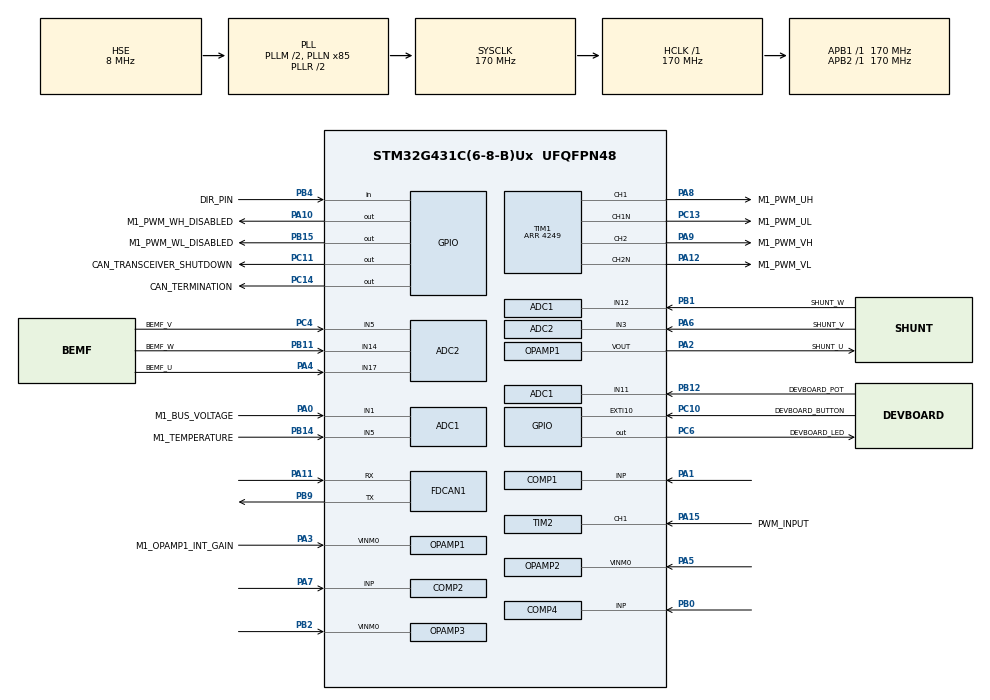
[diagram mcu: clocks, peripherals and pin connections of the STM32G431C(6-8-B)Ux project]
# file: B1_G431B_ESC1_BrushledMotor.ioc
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ADC1.Channel-0\#ChannelRegularConversion=ADC_CHANNEL_3
ADC1.Channel-1\#ChannelRegularConversion=ADC_CHANNEL_1
ADC1.Channel-2\#ChannelRegularConversion=ADC_CHANNEL_5
ADC1.Channel-3\#ChannelRegularConversion=ADC_CHANNEL_11
ADC1.DMAContinuousRequests=ENABLE
ADC1.ExternalTrigConv=ADC_EXTERNALTRIG_T1_TRGO
ADC1.NbrOfConversion=4
ADC1.NbrOfConversionFlag=1
ADC1.OffsetNumber-0\#ChannelRegularConversion=ADC_OFFSET_NONE
ADC1.OffsetNumber-1\#ChannelRegularConversion=ADC_OFFSET_NONE
ADC1.OffsetNumber-2\#ChannelRegularConversion=ADC_OFFSET_NONE
ADC1.OffsetNumber-3\#ChannelRegularConversion=ADC_OFFSET_NONE
ADC1.OversamplingMode=ENABLE
ADC1.Rank-0\#ChannelRegularConversion=1
ADC1.Rank-1\#ChannelRegularConversion=2
ADC1.Rank-2\#ChannelRegularConversion=3
ADC1.Rank-3\#ChannelRegularConversion=4
ADC1.Ratio=ADC_OVERSAMPLING_RATIO_8
ADC1.RightBitShift=ADC_RIGHTBITSHIFT_3
ADC1.SamplingTime-0\#ChannelRegularConversion=ADC_SAMPLETIME_2CYCLES_5
ADC1.SamplingTime-1\#ChannelRegularConversion=ADC_SAMPLETIME_47CYCLES_5
ADC1.SamplingTime-2\#ChannelRegularConversion=ADC_SAMPLETIME_47CYCLES_5
ADC1.SamplingTime-3\#ChannelRegularConversion=ADC_SAMPLETIME_47CYCLES_5
ADC1.master=1
ADC2.Channel-0\#ChannelRegularConversion=ADC_CHANNEL_3
ADC2.Channel-1\#ChannelRegularConversion=ADC_CHANNEL_17
ADC2.Channel-2\#ChannelRegularConversion=ADC_CHANNEL_5
ADC2.Channel-3\#ChannelRegularConversion=ADC_CHANNEL_14
ADC2.DMAContinuousRequests=ENABLE
ADC2.ExternalTrigConv=ADC_EXTERNALTRIG_T1_TRGO
ADC2.NbrOfConversion=4
ADC2.NbrOfConversionFlag=1
ADC2.OffsetNumber-0\#ChannelRegularConversion=ADC_OFFSET_NONE
ADC2.OffsetNumber-1\#ChannelRegularConversion=ADC_OFFSET_NONE
ADC2.OffsetNumber-2\#ChannelRegularConversion=ADC_OFFSET_NONE
ADC2.OffsetNumber-3\#ChannelRegularConversion=ADC_OFFSET_NONE
ADC2.OversamplingMode=ENABLE
ADC2.Rank-0\#ChannelRegularConversion=1
ADC2.Rank-1\#ChannelRegularConversion=2
ADC2.Rank-2\#ChannelRegularConversion=3
ADC2.Rank-3\#ChannelRegularConversion=4
ADC2.Ratio=ADC_OVERSAMPLING_RATIO_8
ADC2.RightBitShift=ADC_RIGHTBITSHIFT_3
ADC2.SamplingTime-0\#ChannelRegularConversion=ADC_SAMPLETIME_2CYCLES_5
ADC2.SamplingTime-1\#ChannelRegularConversion=ADC_SAMPLETIME_47CYCLES_5
ADC2.SamplingTime-2\#ChannelRegularConversion=ADC_SAMPLETIME_47CYCLES_5
ADC2.SamplingTime-3\#ChannelRegularConversion=ADC_SAMPLETIME_47CYCLES_5
ARM.CMSIS-DSP.1.17.0.CMSISJjDSP=Source
ARM.CMSIS.6.3.0.CMSISJjCORE=true
DAC3.DAC_Channel-DAC_OUT2_Int=DAC_CHANNEL_2
Dma.ADC1.0.Direction=DMA_PERIPH_TO_MEMORY
Dma.ADC1.0.EventEnable=DISABLE
Dma.ADC1.0.Instance=DMA1_Channel1
Dma.ADC1.0.MemDataAlignment=DMA_MDATAALIGN_WORD
Dma.ADC1.0.MemInc=DMA_MINC_ENABLE
Dma.ADC1.0.Mode=DMA_CIRCULAR
Dma.ADC1.0.PeriphDataAlignment=DMA_PDATAALIGN_WORD
Dma.ADC1.0.PeriphInc=DMA_PINC_DISABLE
Dma.ADC1.0.Polarity=HAL_DMAMUX_REQ_GEN_RISING
Dma.ADC1.0.Priority=DMA_PRIORITY_HIGH
Dma.ADC1.0.RequestNumber=1
Dma.ADC1.0.SignalID=NONE
Dma.ADC1.0.SyncEnable=DISABLE
Dma.ADC1.0.SyncPolarity=HAL_DMAMUX_SYNC_NO_EVENT
Dma.ADC1.0.SyncRequestNumber=1
Dma.ADC1.0.SyncSignalID=NONE
Dma.ADC2.1.Direction=DMA_PERIPH_TO_MEMORY
Dma.ADC2.1.EventEnable=DISABLE
Dma.ADC2.1.Instance=DMA1_Channel2
Dma.ADC2.1.MemDataAlignment=DMA_MDATAALIGN_WORD
Dma.ADC2.1.MemInc=DMA_MINC_ENABLE
Dma.ADC2.1.Mode=DMA_CIRCULAR
Dma.ADC2.1.PeriphDataAlignment=DMA_PDATAALIGN_WORD
Dma.ADC2.1.PeriphInc=DMA_PINC_DISABLE
Dma.ADC2.1.Polarity=HAL_DMAMUX_REQ_GEN_RISING
Dma.ADC2.1.Priority=DMA_PRIORITY_HIGH
Dma.ADC2.1.RequestNumber=1
Dma.ADC2.1.SignalID=NONE
Dma.ADC2.1.SyncEnable=DISABLE
Dma.ADC2.1.SyncPolarity=HAL_DMAMUX_SYNC_NO_EVENT
Dma.ADC2.1.SyncRequestNumber=1
Dma.ADC2.1.SyncSignalID=NONE
Dma.Request0=ADC1
Dma.Request1=ADC2
FDCAN1.CalculateBaudRateNominal=1999999
FDCAN1.CalculateTimeBitNominal=500
FDCAN1.CalculateTimeQuantumNominal=29.411764705882355
FDCAN1.NominalPrescaler=5
FDCAN1.NominalTimeSeg1=14
FDCAN1.NominalTimeSeg2=2
Mcu.Family=STM32G4
Mcu.Name=STM32G431C(6-8-B)Ux
Mcu.Package=UFQFPN48
NVIC.ADC1_2_IRQn=true\:0\:0\:false\:false\:true\:true\:true\:true
NVIC.DMA1_Channel1_IRQn=true\:0\:0\:false\:false\:true\:false\:true\:true
NVIC.DMA1_Channel2_IRQn=true\:0\:0\:false\:false\:true\:false\:true\:true
NVIC.PriorityGroup=NVIC_PRIORITYGROUP_4
NVIC.TIM1_BRK_TIM15_IRQn=true\:0\:0\:false\:false\:true\:true\:true\:true
NVIC.TIM2_IRQn=true\:0\:0\:false\:false\:true\:true\:true\:true
NVIC.TIM6_DAC_IRQn=true\:0\:0\:false\:false\:true\:true\:true\:true
OPAMP1.PgaGain=OPAMP_PGA_GAIN_16_OR_MINUS_15
OPAMP2.PgaGain=OPAMP_PGA_GAIN_16_OR_MINUS_15
OPAMP3.PgaGain=OPAMP_PGA_GAIN_16_OR_MINUS_15
PA0.GPIO_Label=M1_BUS_VOLTAGE
PA0.Mode=IN1-Single-Ended
PA0.Signal=ADC1_IN1
PA1.Signal=SharedAnalog_PA1
PA10.GPIO_Label=M1_PWM_WH_DISABLED
PA10.GPIO_PuPd=GPIO_PULLDOWN
PA10.Signal=GPIO_Output
PA11.Mode=FDCAN_Activate
PA11.Signal=FDCAN1_RX
PA12.GPIO_Label=M1_PWM_VL
PA12.Mode=PWM Generation2 CH2 CH2N
PA12.Signal=TIM1_CH2N
PA13.Mode=Serial_Wire
PA13.Signal=SYS_JTMS-SWDIO
PA14.Mode=Serial_Wire
PA14.Signal=SYS_JTCK-SWCLK
PA15.GPIO_Label=PWM_INPUT
PA15.GPIO_PuPd=GPIO_PULLDOWN
PA15.Signal=S_TIM2_CH1
PA2.GPIO_Label=SHUNT_U
PA2.Signal=SharedAnalog_PA2
PA3.GPIO_Label=M1_OPAMP1_INT_GAIN
PA3.Mode=PGA Connected-INVERTINGINPUT_IO0_BIAS
PA3.Signal=OPAMP1_VINM0
PA4.GPIO_Label=BEMF_U
PA4.Mode=IN17-Single-Ended
PA4.Signal=ADC2_IN17
PA5.Mode=PGA Connected-INVERTINGINPUT_IO0_BIAS
PA5.Signal=OPAMP2_VINM0
PA6.GPIO_Label=SHUNT_V
PA6.Signal=SharedAnalog_PA6
PA7.Signal=SharedAnalog_PA7
PA8.GPIO_Label=M1_PWM_UH
PA8.Signal=S_TIM1_CH1
PA9.GPIO_Label=M1_PWM_VH
PA9.Signal=S_TIM1_CH2
PB0.Signal=SharedAnalog_PB0
PB1.GPIO_Label=SHUNT_W
PB1.Signal=SharedAnalog_PB1
PB11.GPIO_Label=BEMF_W
PB11.Mode=IN14-Single-Ended
PB11.Signal=ADC2_IN14
PB12.GPIO_Label=DEVBOARD_POT
PB12.Mode=IN11-Single-Ended
PB12.Signal=ADC1_IN11
PB14.GPIO_Label=M1_TEMPERATURE
PB14.Mode=IN5-Single-Ended
PB14.Signal=ADC1_IN5
PB15.GPIO_Label=M1_PWM_WL_DISABLED
PB15.GPIO_PuPd=GPIO_PULLDOWN
PB15.Signal=GPIO_Output
PB2.Mode=PGA Internally connected_IO0_BIAS
PB2.Signal=OPAMP3_VINM0
PB4.GPIO_Label=DIR_PIN
PB4.GPIO_PuPd=GPIO_PULLUP
PB4.Signal=GPIO_Input
PB9.Mode=FDCAN_Activate
PB9.Signal=FDCAN1_TX
PC10.GPIO_Label=DEVBOARD_BUTTON
PC10.Signal=GPXTI10
PC11.GPIO_Label=CAN_TRANSCEIVER_SHUTDOWN
PC11.Signal=GPIO_Output
PC13.GPIO_Label=M1_PWM_UL
PC13.Mode=PWM Generation1 CH1 CH1N
PC13.Signal=TIM1_CH1N
PC14-OSC32_IN.GPIO_Label=CAN_TERMINATION
PC14-OSC32_IN.Signal=GPIO_Output
PC4.GPIO_Label=BEMF_V
PC4.Mode=IN5-Single-Ended
PC4.Signal=ADC2_IN5
PC6.GPIO_Label=DEVBOARD_LED
PC6.Signal=GPIO_Output
PF0-OSC_IN.Mode=HSE-External-Oscillator
PF0-OSC_IN.Signal=RCC_OSC_IN
PF1-OSC_OUT.Mode=HSE-External-Oscillator
PF1-OSC_OUT.Signal=RCC_OSC_OUT
ProjectManager.HeapSize=0x200
ProjectManager.StackSize=0x400
ProjectManager.TargetToolchain=CMake
RCC.ADC12Freq_Value=170000000
RCC.AHBFreq_Value=170000000
RCC.APB1Freq_Value=170000000
RCC.APB1TimFreq_Value=170000000
RCC.APB2Freq_Value=170000000
RCC.APB2TimFreq_Value=170000000
RCC.CortexFreq_Value=170000000
RCC.EXTERNAL_CLOCK_VALUE=12288000
RCC.HCLKFreq_Value=170000000
RCC.HSE_VALUE=8000000
RCC.HSI48_VALUE=48000000
RCC.HSI_VALUE=16000000
RCC.LSE_VALUE=32768
RCC.PLLM=RCC_PLLM_DIV2
RCC.PLLN=85
RCC.PLLSourceVirtual=RCC_PLLSOURCE_HSE
RCC.SYSCLKFreq_VALUE=170000000
RCC.SYSCLKSource=RCC_SYSCLKSOURCE_PLLCLK
RCC.USBFreq_Value=170000000
RCC.VCOOutputFreq_Value=340000000
SH.S_TIM1_CH1.0=TIM1_CH1,PWM Generation1 CH1 CH1N
SH.S_TIM1_CH2.0=TIM1_CH2,PWM Generation2 CH2 CH2N
SH.S_TIM2_CH1.0=TIM2_CH1,PWM_Input_1
SH.SharedAnalog_PA1.0=COMP1_INP,INP
SH.SharedAnalog_PA1.1=OPAMP1_VINP,PGA Connected-INVERTINGINPUT_IO0_BIAS
SH.SharedAnalog_PA2.0=OPAMP1_VOUT,PGA Connected-INVERTINGINPUT_IO0_BIAS
SH.SharedAnalog_PA2.1=ADC1_IN3,IN3-Single-Ended
SH.SharedAnalog_PA6.0=ADC2_IN3,IN3-Single-Ended
SH.SharedAnalog_PA6.1=OPAMP2_VOUT,PGA Connected-INVERTINGINPUT_IO0_BIAS
SH.SharedAnalog_PA7.0=COMP2_INP,INP
SH.SharedAnalog_PA7.1=OPAMP2_VINP,PGA Connected-INVERTINGINPUT_IO0_BIAS
SH.SharedAnalog_PB0.0=COMP4_INP,INP
SH.SharedAnalog_PB0.1=OPAMP3_VINP,PGA Internally connected_IO0_BIAS
SH.SharedAnalog_PB1.0=OPAMP3_VOUT
SH.SharedAnalog_PB1.1=ADC1_IN12,IN12-Single-Ended
TIM1.BreakState=TIM_BREAK_ENABLE
TIM1.Channel-PWM\ Generation1\ CH1\ CH1N=TIM_CHANNEL_1
TIM1.Channel-PWM\ Generation2\ CH2\ CH2N=TIM_CHANNEL_2
TIM1.Channel-PWM\ Generation4\ No\ Output=TIM_CHANNEL_4
TIM1.CounterMode=TIM_COUNTERMODE_CENTERALIGNED1
TIM1.DeadTime=43
TIM1.PeriodNoDither=4249
TIM1.PulseNoDither_4=4248
TIM1.SourceBRKCOMP1=TIM_BREAKINPUTSOURCE_ENABLE
TIM1.SourceBRKCOMP2=TIM_BREAKINPUTSOURCE_ENABLE
TIM1.TIM_MasterOutputTrigger=TIM_TRGO_OC4REF
TIM2.ICFilter_1=3
TIM2.ICFilter_2=3
TIM6.PeriodNoDither=42499
TIM6.Prescaler=3
VP_ADC2_OPAMP_INTERNAL3.Mode=IN-OPAMP3
VP_ARM.CMSIS-DSP_VS_CMSISJjDSP_1.17.0_1.17.0.Mode=CMSISJjDSP
VP_ARM.CMSIS_VS_CMSISJjCORE_6.2.0_6.3.0.Mode=CMSISJjCORE
VP_COMP1_VS_DAC3OUT1.Mode=INM_DAC3OUT1
VP_COMP2_VS_DAC3OUT2.Mode=INM_DAC3OUT2
VP_COMP4_VS_DAC3OUT2.Mode=INM_DAC3OUT2
VP_DAC3_VS_DACI1.Mode=DAC_OUT1_Int
VP_DAC3_VS_DACI2.Mode=DAC_OUT2_Int
VP_SYS_VS_DBSignals.Mode=DisableDeadBatterySignals
VP_TIM1_VS_no_output4.Mode=PWM Generation4 No Output
VP_TIM2_VS_ClockSourceINT.Mode=Internal
VP_TIM6_VS_ClockSourceINT.Mode=Enable_Timer
board=custom

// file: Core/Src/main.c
/* USER CODE BEGIN Header */
/**
 ******************************************************************************
 * @file           : main.c
 * @brief          : Main program body
 ******************************************************************************
 * @attention
 *
 * Copyright (c) 2026 STMicroelectronics.
 * All rights reserved.
 *
 * This software is licensed under terms that can be found in the LICENSE file
 * in the root directory of this software component.
 * If no LICENSE file comes with this software, it is provided AS-IS.
 *
 ******************************************************************************
 */
/* USER CODE END Header */
#include "main.h"
#include "adc.h"
#include "comp.h"
#include "dac.h"
#include "dma.h"
#include "fdcan.h"
#include "opamp.h"
#include "tim.h"
#include "gpio.h"

/* USER CODE BEGIN Includes */
#include "arm_math.h"
#include <math.h>
#include <stdbool.h>
#include <stdlib.h>

/* USER CODE END Includes */

/* USER CODE BEGIN PTD */

typedef enum {
  ESC_STATE_BOOTING,
  ESC_STATE_IDLE,    // Waiting for valid zero-throttle command
  ESC_STATE_RUNNING, // Actively driving the motor
  ESC_STATE_FAULT    // Safety lockout
} ESC_State;

typedef enum {
  ESC_INPUT_MODE_PWM,
  ESC_INPUT_MODE_UART,
  ESC_INPUT_MODE_CAN,
  ESC_INPUT_MODE_POT
} ESC_InputMode;

typedef enum {
  CONTROL_MODE_DUTYCYCLE,
  CONTROL_MODE_CURRENT,
  CONTROL_MODE_VELOCITY
} MotorControlMode;

typedef struct {
  float kp;
  float ki;
  float integral_error;
  float output_limit;
  float epsilon;
} PI_Controller_t;

typedef struct {
  float current_mA;

  float bemf_u_voltage;
  float bemf_v_voltage;

  float bus_voltage;
  float board_temp_c;
} MotorSensors_t;

typedef struct {
  MotorControlMode active_control_mode; // Duty, Current, or Velocity

  float target_speed;  // The raw input before routing
  float current_speed; // The actual motor RPM (from encoder)

  float target_dutycycle; // -100.0 to 100.0 %
  float target_current_A; // e.g., -10.0 to 10.0 Amps
  float target_velocity;  // e.g., -3000 to 3000 RPM

  PI_Controller_t current_pi;
  PI_Controller_t velocity_pi;

  // Independent raw inputs
  float raw_pwm_input;
  float raw_uart_input;
  float raw_can_input;

  // Independent timeout trackers
  uint32_t last_pwm_cmd_ms;
  uint32_t last_uart_cmd_ms;
  uint32_t last_can_cmd_ms;

  // State tracking
  bool pot_override_active;
  ESC_InputMode active_mode; // Kept so telemetry knows who is driving!
} MotorControl_t;

typedef struct {
  bool overcurrent_protection_on;
  bool overtemperature_protection_on;
  bool voltage_protection_on;

  uint8_t battery_cell_count;
  uint8_t current_threshold_amps;
  uint8_t temperature_threshold_c;
} ESC_Protection_t;

typedef struct {
  bool overcurrent;
  bool overtemp;
  bool overvoltage;
  bool fault_latch;

  uint32_t oc_timestamp_ms;
  uint32_t ot_timestamp_ms;
  uint32_t ov_timestamp_ms;
} SystemFaults_t;

// The Master Context
typedef struct {
  MotorSensors_t sensors;
  MotorControl_t control;
  ESC_Protection_t protection;
  SystemFaults_t faults;
  ESC_State state;
} ESC_Context_t;

#pragma pack(push, 1)

typedef enum {
  PAYLOAD_TYPE_COMMAND = 0x01,
  PAYLOAD_TYPE_CONFIG = 0x02,
  PAYLOAD_TYPE_FEEDBACK = 0x03
} PayloadTypes;

// --- PAYLOAD 1: The High-Frequency Command ---
typedef struct {
  float target_speed;
} PayloadCommand;

// --- PAYLOAD 2: The Low-Frequency Config ---
typedef struct {
  uint32_t enable_running_mode : 1;
  uint32_t enable_encoder : 1;
  uint32_t enable_overcurrent_protection : 1;
  uint32_t enable_overtemperature_protection : 1;
  uint32_t enable_voltage_protection : 1;
  uint32_t overcurrent_threshold_amps : 6;
  uint32_t battery_cell_count : 4;
  uint32_t temperature_threshold_c : 7;
  uint32_t max_dutycycle : 7;
} PayloadConfig;

// --- PAYLOAD 3: Telemetry Feedback ---
typedef struct {
  int8_t dutycycle;
  int8_t temperature_c;
  float current_mA;
} PayloadFeedback;

// --- THE MASTER PACKET ---
typedef struct {
  uint8_t msg_type; // This tells the STM32 how to read the union
  union {
    PayloadCommand command;
    PayloadConfig config;
    PayloadFeedback feedback;
  } payload;
} MasterPacket;

// --- UART WRAPPER ---
typedef struct {
  uint16_t header; // 0x726F
  MasterPacket packet;
} MasterPacketUART;

#pragma pack(pop)

/* USER CODE END PTD */

/* USER CODE BEGIN PD */
#define SYSCLK_FREQ (170e6)

#define PWM_INPUT_MAX_PERIOD_MS (50)
#define PWM_INPUT_MIN_US (1000.0f)
#define PWM_INPUT_MAX_US (2000.0f)
#define PWM_INPUT_CENTER_US (1500.0f)
#define PWM_INPUT_DEADZONE_US (20.0f)

#define UART_HEADER_BYTES (0x726F)
#define UART_FOOTER_BYTES (0x7365)

#define CURRENT_LOWPASS_ALPHA (0.1f)

#define BUS_VOLTAGE_DIVIDER_RATIO (10.388f)
#define BEMF_VOLTAGE_DIVIDER_RATIO (8.02f)
#define DAC_AMP_TO_BITS_RATIO (59.5f)

#define CANBUS_TERMINATION_RESISTOR_ACTIVE (0)
#define CANBUS_TRANSCEIVER_ACTIVE (1)

#define DEFAULT_BATTERY_CELL_COUNT (6)
#define CELL_VOLTAGE_LOW (3.0f)
#define CELL_VOLTAGE_HIGH (4.2f)

#define OVERVOLTAGE_RATE_ALLOWED (1.2f)
#define UNDERVOLTAGE_RATE_ALLOWED (1.0f)

#define OVERTEMPERATURE_PROTECTION_THRESHOLD_CELCIUS (80.0f)
#define OVERCURRENT_PROTECTION_THRESHOLD_AMPS (20.0f)

#define CURRENT_PID_EPSILON (0.1f)
#define VELOCITY_PID_EPSILON (0.0f)

#define OVERCURRENT_PROTECTION_TIMEOUT_MS (2000)
#define OVERTEMPERATURE_PROTECTION_TIMEOUT_MS (5000)
#define VOLTAGE_PROTECTION_TIMEOUT_MS (2000)
/* USER CODE END PD */

/* USER CODE BEGIN PM */

// #define MAX(a, b) (((a) > (b)) ? (a) : (b))
#define MAX3(a, b, c) MAX(MAX(a, b), c)

/* USER CODE END PM */

/* USER CODE BEGIN PV */

// --- THE MASTER SYSTEM VARIABLE ---
ESC_Context_t esc_system = {0};

// Hardware tracking and filtering
volatile float current_u_filtered = 0.0f;
volatile float current_v_filtered = 0.0f;
volatile static int32_t offset_u = 2540;
volatile static int32_t offset_v = 2540;

volatile static float bemf_u_V = 0.0f;
volatile static float bemf_v_V = 0.0f;
volatile static float bemf_w_V = 0.0f;

volatile uint32_t adc1_buffer[4];
volatile uint32_t adc2_buffer[4];

static GPIO_PinState last_devboard_button_state = GPIO_PIN_SET;
volatile static uint32_t current_time_ms = 0;

// --- CMSIS-DSP BIQUAD FILTER VARS (PHASE U) ---
arm_biquad_casd_df1_inst_f32 biquad_filter_current;
float biquad_state_current[4];

// Order: { b0, b1, b2, a1, a2 }
const float biquad_coeffs[5] = {
    0.04125344110097427f, // b0 (zeros[0])
    0.08250688220194854f, // b1 (zeros[1])
    0.04125344110097427f, // b2 (zeros[2])
    1.34896460150382f,    // a1 (poles[1] * -1)
    -0.5139783659077168f  // a2 (poles[2] * -1)
};
volatile float active_motor_current_mA = 0.0f;

/* USER CODE END PV */

void SystemClock_Config(void);
/* USER CODE BEGIN PFP */

void set_motor_speed(float speed_percent);

void set_overcurrent_protection_threshold(float threshold_A,
                                          int32_t shunt_offset_u,
                                          int32_t shunt_offset_v);
void calibrate_shunt_adc_offsets(int32_t *shunt_offset_u,
                                 int32_t *shunt_offset_v);
float get_ntc_temperature_c(uint32_t adc_val);
float get_bus_voltage(uint32_t adc_val);
float get_shunt_resistor_current(uint32_t adc_val, uint32_t offset);
float get_potentiometer_target_speed(uint32_t adc_val);
float get_rc_pwm_target_speed(uint32_t ch_ticks);

void MotorSensors_Update(ESC_Context_t *ctx, uint32_t current_time_ms);
void FaultMonitor_Update(ESC_Context_t *ctx, uint32_t current_time_ms);
void MotorControl_Update(ESC_Context_t *ctx, uint32_t current_time_ms);
void MotorState_Update(ESC_Context_t *ctx);

// Initializes a PI controller
void PI_Init(PI_Controller_t *pi, float kp, float ki, float limit,
             float epsilon) {
  pi->kp = kp;
  pi->ki = ki;
  pi->integral_error = 0.0f;
  pi->output_limit = limit;
  pi->epsilon = epsilon;
}

// Computes the PI algorithm
float PI_Update(PI_Controller_t *pi, float target, float actual, float dt) {
  float error = target - actual;

  // --- THE DEADBAND FILTER ---
  if (fabsf(error) <= pi->epsilon) {
    error = 0.0f;
  }
  // Proportional term
  float p_term = pi->kp * error;

  // Integral term (with anti-windup clamping)
  pi->integral_error += error * dt;
  float i_term = pi->ki * pi->integral_error;

  // Calculate total output
  float output = p_term + i_term;

  // Clamp output to limits and prevent integral windup
  if (output > pi->output_limit) {
    output = pi->output_limit;
    // Un-wind the integral
    pi->integral_error -= error * dt;
  } else if (output < -pi->output_limit) {
    output = -pi->output_limit;
    // Un-wind the integral
    pi->integral_error -= error * dt;
  }

  return output;
}

/* USER CODE END PFP */

int main(void)
{

  /* USER CODE BEGIN 1 */
  esc_system.state = ESC_STATE_BOOTING;
  esc_system.control.active_mode = ESC_INPUT_MODE_PWM;

  esc_system.protection.overcurrent_protection_on = true;
  esc_system.protection.overtemperature_protection_on = true;
  esc_system.protection.voltage_protection_on = true;
  esc_system.protection.battery_cell_count = DEFAULT_BATTERY_CELL_COUNT;
  esc_system.protection.current_threshold_amps =
      OVERCURRENT_PROTECTION_THRESHOLD_AMPS;
  esc_system.protection.temperature_threshold_c =
      OVERTEMPERATURE_PROTECTION_THRESHOLD_CELCIUS;

  /* USER CODE END 1 */

  /* MCU Configuration--------------------------------------------------------*/

  /* Reset of all peripherals, Initializes the Flash interface and the Systick. */
  HAL_Init();

  /* Configure the system clock */
  SystemClock_Config();

  /* Initialize all configured peripherals */
  MX_GPIO_Init();
  MX_DMA_Init();
  MX_ADC1_Init();
  MX_ADC2_Init();
  MX_COMP1_Init();
  MX_COMP2_Init();
  MX_COMP4_Init();
  MX_DAC3_Init();
  MX_FDCAN1_Init();
  MX_OPAMP1_Init();
  MX_OPAMP2_Init();
  MX_OPAMP3_Init();
  MX_TIM1_Init();
  MX_TIM6_Init();
  MX_TIM2_Init();
  /* USER CODE BEGIN 2 */

  arm_biquad_cascade_df1_init_f32(&biquad_filter_current, 1,
                                  (float *)biquad_coeffs, biquad_state_current);

  // Init Current Loop (Limit output to max Duty Cycle)
  PI_Init(&esc_system.control.current_pi, 0.5f, 0.01f, 98.0f,
          CURRENT_PID_EPSILON);

  // Init Velocity Loop (Limit output to slightly below Overcurrent Threshold.
  PI_Init(&esc_system.control.velocity_pi, 0.1f, 0.001f,
          OVERCURRENT_PROTECTION_THRESHOLD_AMPS * 0.95f, VELOCITY_PID_EPSILON);

  HAL_GPIO_WritePin(CAN_TRANSCEIVER_SHUTDOWN_GPIO_Port,
                    CAN_TRANSCEIVER_SHUTDOWN_Pin, !CANBUS_TRANSCEIVER_ACTIVE);

  // Enable or disable the CAN termination resistor according to config
  HAL_GPIO_WritePin(CAN_TERMINATION_GPIO_Port, CAN_TERMINATION_Pin,
                    CANBUS_TERMINATION_RESISTOR_ACTIVE);

  // Power up the Operational Amplifiers
  HAL_OPAMP_Start(&hopamp1);
  HAL_OPAMP_Start(&hopamp2);

  // Calibrate the ADCs (CRITICAL for STM32G4!)
  HAL_ADCEx_Calibration_Start(&hadc1, ADC_SINGLE_ENDED);
  HAL_ADCEx_Calibration_Start(&hadc2, ADC_SINGLE_ENDED);

  // Start ADCs in Hardware-Triggered Interrupt Mode
  HAL_ADC_Start_DMA(&hadc1, (uint32_t *)adc1_buffer, 4);
  HAL_ADC_Start_DMA(&hadc2, (uint32_t *)adc2_buffer, 4);

  // Start Phase U (OUT1) PWM
  HAL_TIM_PWM_Start(&htim1, TIM_CHANNEL_1);
  HAL_TIMEx_PWMN_Start(&htim1, TIM_CHANNEL_1);

  // Start Phase V (OUT2) PWM
  HAL_TIM_PWM_Start(&htim1, TIM_CHANNEL_2);
  HAL_TIMEx_PWMN_Start(&htim1, TIM_CHANNEL_2);

  HAL_TIM_PWM_Start(&htim1, TIM_CHANNEL_4);

  HAL_Delay(10);

  int32_t shunt_offset_u = 0;
  int32_t shunt_offset_v = 0;
  calibrate_shunt_adc_offsets(&shunt_offset_u, &shunt_offset_v);
  offset_u = shunt_offset_u;
  offset_v = shunt_offset_v;

  set_overcurrent_protection_threshold(OVERCURRENT_PROTECTION_THRESHOLD_AMPS,
                                       offset_u, offset_v);

  // Start the DAC
  HAL_DAC_Start(&hdac3, DAC_CHANNEL_1);
  HAL_DAC_Start(&hdac3, DAC_CHANNEL_2);

  // Start the Comparators to watch the OPAMPs
  HAL_COMP_Start(&hcomp1);
  HAL_COMP_Start(&hcomp2);
  // ==========================================================

  // Start PWM Input
  HAL_TIM_IC_Start_IT(&htim2, TIM_CHANNEL_1); // Signal Input Channel (Main)
  HAL_TIM_IC_Start(&htim2, TIM_CHANNEL_2);    // Secondary Channel

  esc_system.state = ESC_STATE_IDLE;
  // Start motor control timer
  HAL_TIM_Base_Start_IT(&htim6);

  /* USER CODE END 2 */

  /* Infinite loop */
  /* USER CODE BEGIN WHILE */
  while (1) {

    GPIO_PinState devboard_button_pressed =
        HAL_GPIO_ReadPin(DEVBOARD_BUTTON_GPIO_Port, DEVBOARD_BUTTON_Pin);
    if (devboard_button_pressed == GPIO_PIN_RESET &&
        last_devboard_button_state != GPIO_PIN_RESET) {
      esc_system.control.pot_override_active =
          !esc_system.control.pot_override_active;
    }
    last_devboard_button_state = devboard_button_pressed;
    HAL_Delay(10);
    /* USER CODE END WHILE */

  }
}

void SystemClock_Config(void)
{
  RCC_OscInitTypeDef RCC_OscInitStruct = {0};
  RCC_ClkInitTypeDef RCC_ClkInitStruct = {0};

  /** Configure the main internal regulator output voltage
  */
  HAL_PWREx_ControlVoltageScaling(PWR_REGULATOR_VOLTAGE_SCALE1_BOOST);

  /** Initializes the RCC Oscillators according to the specified parameters
  * in the RCC_OscInitTypeDef structure.
  */
  RCC_OscInitStruct.OscillatorType = RCC_OSCILLATORTYPE_HSE;
  RCC_OscInitStruct.HSEState = RCC_HSE_ON;
  RCC_OscInitStruct.PLL.PLLState = RCC_PLL_ON;
  RCC_OscInitStruct.PLL.PLLSource = RCC_PLLSOURCE_HSE;
  RCC_OscInitStruct.PLL.PLLM = RCC_PLLM_DIV2;
  RCC_OscInitStruct.PLL.PLLN = 85;
  RCC_OscInitStruct.PLL.PLLP = RCC_PLLP_DIV2;
  RCC_OscInitStruct.PLL.PLLQ = RCC_PLLQ_DIV2;
  RCC_OscInitStruct.PLL.PLLR = RCC_PLLR_DIV2;
  if (HAL_RCC_OscConfig(&RCC_OscInitStruct) != HAL_OK)
  {
    Error_Handler();
  }

  /** Initializes the CPU, AHB and APB buses clocks
  */
  RCC_ClkInitStruct.ClockType = RCC_CLOCKTYPE_HCLK|RCC_CLOCKTYPE_SYSCLK
                              |RCC_CLOCKTYPE_PCLK1|RCC_CLOCKTYPE_PCLK2;
  RCC_ClkInitStruct.SYSCLKSource = RCC_SYSCLKSOURCE_PLLCLK;
  RCC_ClkInitStruct.AHBCLKDivider = RCC_SYSCLK_DIV1;
  RCC_ClkInitStruct.APB1CLKDivider = RCC_HCLK_DIV1;
  RCC_ClkInitStruct.APB2CLKDivider = RCC_HCLK_DIV1;

  if (HAL_RCC_ClockConfig(&RCC_ClkInitStruct, FLASH_LATENCY_4) != HAL_OK)
  {
    Error_Handler();
  }
}

/* USER CODE BEGIN 4 */

// This automatically fires if COMP1 or COMP2 trips TIM1
void HAL_TIMEx_BreakCallback(TIM_HandleTypeDef *htim) {
  if (htim->Instance == TIM1) {
    esc_system.faults.overcurrent = true;
    esc_system.faults.oc_timestamp_ms = current_time_ms;
  }
}

void HAL_ADC_ConvCpltCallback(ADC_HandleTypeDef *hadc) {

  // Wait until ADC2 is done so we know BOTH buffers are full
  if (hadc->Instance == ADC2) {

    // 1. Get the TRUE signed readings (DO NOT use fabsf here!)
    float raw_mA_u = get_shunt_resistor_current(adc1_buffer[0], offset_u);
    float raw_mA_v = get_shunt_resistor_current(adc2_buffer[0], offset_v);

    // 2. The H-Bridge Subtraction Trick
    // Forward = Positive result. Reverse = Negative result.
    // The "dead" shunt is just ~0 noise, so it barely affects the math!
    float raw_motor_mA = raw_mA_v - raw_mA_u;
    float filtered_result = 0.0f; // Standard local variable

    // 3. Hardware Accelerated Biquad Math
    arm_biquad_cascade_df1_f32(&biquad_filter_current, &raw_motor_mA,
                               &filtered_result, 1);

    // 4. Safely hand off the result to the volatile global
    active_motor_current_mA = filtered_result;

    // ---------------------------------------------------------
    // 5. 4kHz Decimator & PI Loop
    // ---------------------------------------------------------
    static uint32_t decimator_counter = 0;
    decimator_counter++;
    if (decimator_counter >= 5) {
      decimator_counter = 0;
      // dt = 1 / 4000 = 0.00025 seconds
      if (esc_system.state == ESC_STATE_RUNNING) {

        if (esc_system.control.active_control_mode == CONTROL_MODE_DUTYCYCLE) {
          // Open Loop: Just pass the target straight to the hardware
          set_motor_speed(esc_system.control.target_dutycycle);

        } else {
          // Closed Loop: Run the Current PI math
          // Note: If in Velocity mode, target_current_A was already set by
          // TIM6!
          float required_dutycycle =
              PI_Update(&esc_system.control.current_pi,
                        esc_system.control.target_current_A,
                        (active_motor_current_mA / 1000.0f), // Convert mA to A
                        0.00025f                             // 4kHz dt
              );

          set_motor_speed(required_dutycycle);
        }
      }
    }
  }
}

/**
 * @brief  Period elapsed callback in non-blocking mode
 * @param  htim TIM handle
 */
void HAL_TIM_PeriodElapsedCallback(TIM_HandleTypeDef *htim) {
  if (htim->Instance == TIM6) {
    current_time_ms++;

    MotorSensors_Update(&esc_system, current_time_ms);
    FaultMonitor_Update(&esc_system, current_time_ms);
    MotorControl_Update(&esc_system, current_time_ms);
    MotorState_Update(&esc_system);
  }
}

// ============================================================================
// --- MODULAR ARCHITECTURE FUNCTIONS ---
// ============================================================================

void MotorSensors_Update(ESC_Context_t *esc, uint32_t current_time_ms) {

  esc->sensors.current_mA = active_motor_current_mA;

  esc->sensors.bus_voltage = get_bus_voltage(adc1_buffer[1]);
  esc->sensors.board_temp_c = get_ntc_temperature_c(adc1_buffer[2]);

  esc->sensors.bemf_u_voltage =
      (float)adc2_buffer[1] * (BEMF_VOLTAGE_DIVIDER_RATIO * 3.3f / 4095.0f);
  esc->sensors.bemf_v_voltage =
      (float)adc2_buffer[2] * (BEMF_VOLTAGE_DIVIDER_RATIO * 3.3f / 4095.0f);
}

void FaultMonitor_Update(ESC_Context_t *esc, uint32_t current_time_ms) {
  // Check Voltage
  if (esc->protection.voltage_protection_on) {
    const float v_min = esc->protection.battery_cell_count * CELL_VOLTAGE_LOW *
                        UNDERVOLTAGE_RATE_ALLOWED;
    const float v_max = esc->protection.battery_cell_count * CELL_VOLTAGE_HIGH *
                        OVERVOLTAGE_RATE_ALLOWED;
    if (esc->sensors.bus_voltage < v_min || esc->sensors.bus_voltage > v_max) {
      esc->faults.overvoltage = true;
      esc->faults.ov_timestamp_ms = current_time_ms;
    } else if (current_time_ms - esc->faults.ov_timestamp_ms >
               VOLTAGE_PROTECTION_TIMEOUT_MS) {
      esc->faults.overvoltage = false;
    }
  }

  if (esc->protection.overcurrent_protection_on) {
    // If the STM32 hardware killed the timer outputs but the software didn't
    // know:
    if ((TIM1->BDTR & TIM_BDTR_MOE) == 0) {
      esc->faults.overcurrent = true;
      esc->faults.oc_timestamp_ms = current_time_ms;
      esc->faults.fault_latch = true;
    }

    float current_a = fabsf(esc->sensors.current_mA) / 1000.0f;

    if (current_a >= esc->protection.current_threshold_amps) {
      esc->faults.overcurrent = true;
      esc->faults.oc_timestamp_ms = current_time_ms;
    } else if (current_time_ms - esc->faults.oc_timestamp_ms >
               OVERCURRENT_PROTECTION_TIMEOUT_MS) {
      esc->faults.overcurrent = false;
    }
  }
  // Check Temperature
  if (esc->protection.overtemperature_protection_on) {
    if (esc->sensors.board_temp_c > esc->protection.temperature_threshold_c) {
      esc->faults.overtemp = true;
      esc->faults.ot_timestamp_ms = current_time_ms;
    } else if (current_time_ms - esc->faults.ot_timestamp_ms >
               OVERTEMPERATURE_PROTECTION_TIMEOUT_MS) {
      esc->faults.overtemp = false;
    }
  }

  // Master Latch
  esc->faults.fault_latch = esc->faults.overvoltage || esc->faults.overtemp ||
                            esc->faults.overcurrent;
  HAL_GPIO_WritePin(DEVBOARD_LED_GPIO_Port, DEVBOARD_LED_Pin,
                    esc->faults.fault_latch);
}

void MotorControl_Update(ESC_Context_t *esc, uint32_t current_time_ms) {

  // --- 0. HARDWARE PWM & DIR POLLING ---
  uint32_t current_count = TIM2->CNT;
  uint32_t period = TIM2->CCR1;
  uint32_t pulse_width = TIM2->CCR2;

  // FIX: Use standard HAL to read the DIR pin (Assuming PB7)
  bool is_forward = (HAL_GPIO_ReadPin(DIR_PIN_GPIO_Port, DIR_PIN_Pin) == GPIO_PIN_SET);

  if (period > 0) {
    // Check for hardware timeout (Stuck at 0%, 100%, or disconnected)
    if (current_count > (period * 2)) {

      // FIX: Check PA15 (The actual TIM2_CH1 PWM input pin on the G431 ESC)
      if (HAL_GPIO_ReadPin(GPIOA, GPIO_PIN_15) == GPIO_PIN_SET) {
        // Signal is stuck High -> 100% Duty Cycle
        esc->control.raw_pwm_input = is_forward ? 100.0f : -100.0f;
        esc->control.last_pwm_cmd_ms = current_time_ms; // Feed the watchdog
      } else {
        // Signal is stuck Low or disconnected -> 0% Duty Cycle
        esc->control.raw_pwm_input = 0.0f;
      }

    } else {
      // Signal is actively pulsing (1% to 99%)
      float duty_cycle = ((float)pulse_width / (float)period) * 100.0f;
      esc->control.raw_pwm_input = is_forward ? duty_cycle : -duty_cycle;
      esc->control.last_pwm_cmd_ms = current_time_ms; // Feed the watchdog
    }
  }

  // ... (rest of the routing logic remains unchanged)

  // --- 1. POT OVERRIDE ---
  if (esc->control.pot_override_active) {
    esc->control.active_mode = ESC_INPUT_MODE_POT;
    esc->control.target_speed = get_potentiometer_target_speed(adc1_buffer[3]);
  }
  // --- 2. AUTO-DETECT ROUTER ---
  else {
    bool can_active = (current_time_ms - esc->control.last_can_cmd_ms) <= 500;
    bool uart_active = (current_time_ms - esc->control.last_uart_cmd_ms) <= 500;
    bool pwm_active = (current_time_ms - esc->control.last_pwm_cmd_ms) <=
                      PWM_INPUT_MAX_PERIOD_MS;

    if (can_active) {
      esc->control.active_mode = ESC_INPUT_MODE_CAN;
      esc->control.target_speed = esc->control.raw_can_input;
    } else if (uart_active) {
      esc->control.active_mode = ESC_INPUT_MODE_UART;
      esc->control.target_speed = esc->control.raw_uart_input;
    } else if (pwm_active) {
      esc->control.active_mode = ESC_INPUT_MODE_PWM;
      esc->control.target_speed = esc->control.raw_pwm_input;
    } else {
      esc->control.target_speed = 0.0f;
    }
  }

  // --- 3. TARGET ROUTER & OUTER LOOP (1 kHz) ---
  if (esc->control.active_control_mode == CONTROL_MODE_DUTYCYCLE) {
    // Input is treated as %
    esc->control.target_dutycycle = esc->control.target_speed;
  } else if (esc->control.active_control_mode == CONTROL_MODE_CURRENT) {
    // Input is treated as Amps
    esc->control.target_current_A = esc->control.target_speed;
  } else if (esc->control.active_control_mode == CONTROL_MODE_VELOCITY) {
    // Input is treated as RPM
    esc->control.target_velocity = esc->control.target_speed;

    // Calculate Outer Loop PI (Output becomes the Target for the Current loop!)
    esc->control.target_current_A = PI_Update(
        &esc->control.velocity_pi, esc->control.target_velocity,
        esc->control
            .current_speed, // Ensure you calculate RPM from your encoder!
        0.001f              // 1kHz dt
    );
  }
}

void MotorState_Update(ESC_Context_t *esc) {
  switch (esc->state) {
  case ESC_STATE_BOOTING:
    break;

  case ESC_STATE_IDLE:
    set_motor_speed(0.0f);
    if (esc->faults.fault_latch) {
      esc->state = ESC_STATE_FAULT;
    }
    // Re-arm only if throttle is in neutral deadzone
    else if (esc->control.target_speed > -5.0f &&
             esc->control.target_speed < 5.0f) {
      __HAL_TIM_MOE_ENABLE(&htim1);
      esc->state = ESC_STATE_RUNNING;
    }
    break;

  case ESC_STATE_RUNNING:
    if (esc->faults.fault_latch) {
      esc->state = ESC_STATE_FAULT;
    }
    break;

  case ESC_STATE_FAULT:
    __HAL_TIM_MOE_DISABLE(&htim1); // Immediately kill MOSFETs
    set_motor_speed(0.0f);         // Force hardware target to zero

    // Wipe out the PI memory so the motor doesn't violently jerk when re-armed!
    esc->control.current_pi.integral_error = 0.0f;
    esc->control.velocity_pi.integral_error = 0.0f;

    // Wait for neutral stick
    if (!esc->faults.fault_latch) {
      esc->state = ESC_STATE_IDLE;
    }
    break;
  }
}

/**
* @brief Drives the brushed DC motor on OUT1 and OUT2

* @param speed_percent: -100 to 100 (Negative for reverse, Positive for
forward, 0 to coast)
*/
void set_motor_speed(float speed_percent) {

  // Clamp the input to a safe max for the bootstrap capacitors
  if (speed_percent > 98.0f)
    speed_percent = 98.0f;

  if (speed_percent < -98.0f)
    speed_percent = -98.0f;

  // Get the current Auto-Reload Register (ARR) value
  const uint32_t arr_val = __HAL_TIM_GET_AUTORELOAD(&htim1);
  const uint32_t ccr_val =
      (uint32_t)((fabsf(speed_percent) * arr_val) / 100.0f);

  if (speed_percent > 2.0f) {
    // Forward: Drive OUT1, Coast OUT2
    __HAL_TIM_SET_COMPARE(&htim1, TIM_CHANNEL_1, ccr_val);
    __HAL_TIM_SET_COMPARE(&htim1, TIM_CHANNEL_2, 0);
  }

  else if (speed_percent < -2.0f) {
    // Reverse: Coast OUT1, Drive OUT2
    __HAL_TIM_SET_COMPARE(&htim1, TIM_CHANNEL_1, 0);
    __HAL_TIM_SET_COMPARE(&htim1, TIM_CHANNEL_2, ccr_val);
  }

  else {
    // Coast: Both low
    __HAL_TIM_SET_COMPARE(&htim1, TIM_CHANNEL_1, 0);
    __HAL_TIM_SET_COMPARE(&htim1, TIM_CHANNEL_2, 0);
  }
}

void calibrate_shunt_adc_offsets(int32_t *shunt_offset_u,
                                 int32_t *shunt_offset_v) {
  uint32_t sum_u = 0;
  uint32_t sum_v = 0;
  const int NUM_CAL_SAMPLES = 100;

  for (int i = 0; i < NUM_CAL_SAMPLES; i++) {
    // The DMA updates these variables automatically at 20kHz
    sum_u += adc1_buffer[0];
    sum_v += adc2_buffer[0];
    HAL_Delay(1); // Wait 1ms between reads (collecting data over 100ms)
  }

  // Calculate the average offset
  if (shunt_offset_u)
    *shunt_offset_u = sum_u / NUM_CAL_SAMPLES;
  if (shunt_offset_v)
    *shunt_offset_v = sum_v / NUM_CAL_SAMPLES;
}

void set_overcurrent_protection_threshold(float threshold_A,
                                          int32_t shunt_offset_u,
                                          int32_t shunt_offset_v) {
  // 1 Amp = ~59.5 raw units. For 20A trip limit: 20 * 59.5 = 1190
  const uint32_t TRIP_DELTA = (uint32_t)(threshold_A * DAC_AMP_TO_BITS_RATIO);

  uint32_t trip_limit_u = shunt_offset_u + TRIP_DELTA;
  uint32_t trip_limit_v = shunt_offset_v + TRIP_DELTA;

  // Clamp limits to maximum 12-bit value (4095) just in case
  if (trip_limit_u > 4095)
    trip_limit_u = 4095;
  if (trip_limit_v > 4095)
    trip_limit_v = 4095;

  // 1. Set the DAC thresholds
  // DAC CH1 feeds COMP1 (Phase U), DAC CH2 feeds COMP2 (Phase V)
  HAL_DAC_SetValue(&hdac3, DAC_CHANNEL_1, DAC_ALIGN_12B_R, trip_limit_u);
  HAL_DAC_SetValue(&hdac3, DAC_CHANNEL_2, DAC_ALIGN_12B_R, trip_limit_v);
}

float get_ntc_temperature_c(uint32_t adc_val) {
  // Prevent division by zero if ADC reads 0 during boot/fault
  if (adc_val == 0)
    return 25.0f;

  float ntc_voltage = (float)adc_val * (3.3f / 4095.0f);

  // CORRECTED: On the B-G431B-ESC1, the NTC is connected to 3.3V (High side)
  // and the fixed 4.7k resistor is connected to Ground (Low side).
  float ntc_resistance = 4700.0f * (3.3f - ntc_voltage) / ntc_voltage;

  // Beta Equation for Temperature (Beta = 3380 for NCP15XH103F03RC)
  // T = 1 / ( (1/T0) + (1/B)*ln(R/R0) )
  float temp_kelvin =
      1.0f /
      ((1.0f / 298.15f) + (1.0f / 3380.0f) * logf(ntc_resistance / 10000.0f));

  return temp_kelvin - 273.15f;
}

float get_bus_voltage(uint32_t adc_val) {
  float bus_voltage =
      (float)adc_val * (BUS_VOLTAGE_DIVIDER_RATIO * 3.3f / 4095);
  return bus_voltage;
}

float get_shunt_resistor_current(uint32_t adc_val, uint32_t offset) {
  int32_t raw_val = (int32_t)adc_val - offset;
  float inst_mA = (float)raw_val * 16.786f;

  return inst_mA;
}

float get_potentiometer_target_speed(uint32_t adc_val) {
  float target = ((adc_val * 200.0f) / 4095.0f) - 100.0f;
  if (target > -5 && target < 5)
    target = 0;
  return target;
}

float get_rc_pwm_target_speed(uint32_t ch_ticks) {
  float pulse_width_us = (float)ch_ticks / (SYSCLK_FREQ / 1000000.0f);
  float target = 0.0f;

  if (pulse_width_us > PWM_INPUT_CENTER_US + PWM_INPUT_DEADZONE_US) {
    target = ((pulse_width_us - PWM_INPUT_CENTER_US) /
              (PWM_INPUT_MAX_US - PWM_INPUT_CENTER_US)) *
             100.0f;
  } else if (pulse_width_us < PWM_INPUT_CENTER_US - PWM_INPUT_DEADZONE_US) {
    target = ((PWM_INPUT_CENTER_US - pulse_width_us) /
              (PWM_INPUT_CENTER_US - PWM_INPUT_MIN_US)) *
             -100.0f;
  }

  // Clamp limits
  if (target > 100.0f)
    target = 100.0f;
  if (target < -100.0f)
    target = -100.0f;

  return target;
}

// --- THE NEW PACKET ROUTER ---
void process_master_packet(ESC_Context_t *esc, const MasterPacket *packet,
                           ESC_InputMode source) {

  switch (packet->msg_type) {

  case PAYLOAD_TYPE_COMMAND:
    // Update the speed based on who sent it
    if (source == ESC_INPUT_MODE_UART) {
      esc->control.raw_uart_input = packet->payload.command.target_speed;
      esc->control.last_uart_cmd_ms = current_time_ms; // Reset watchdog!
    } else if (source == ESC_INPUT_MODE_CAN) {
      esc->control.raw_can_input = packet->payload.command.target_speed;
      esc->control.last_can_cmd_ms = current_time_ms; // Reset watchdog!
    }
    break;

  case PAYLOAD_TYPE_CONFIG:
    // Update hardware protections
    esc->protection.battery_cell_count =
        packet->payload.config.battery_cell_count;
    esc->protection.overtemperature_protection_on =
        packet->payload.config.enable_overtemperature_protection;
    esc->protection.voltage_protection_on =
        packet->payload.config.enable_voltage_protection;
    esc->protection.overcurrent_protection_on =
        packet->payload.config.enable_overcurrent_protection;
    esc->protection.current_threshold_amps =
        packet->payload.config.overcurrent_threshold_amps;

    set_overcurrent_protection_threshold(esc->protection.current_threshold_amps,
                                         offset_u, offset_v);

    // Notice we DO NOT reset the watchdog timer here!
    // A configuration update shouldn't keep the motor spinning.
    break;

  default:
    // Unknown packet type (or Feedback packet received by mistake), ignore it
    break;
  }
}

/* USER CODE END 4 */

void Error_Handler(void)
{
  /* USER CODE BEGIN Error_Handler_Debug */
  /* User can add his own implementation to report the HAL error return state
   */
  __disable_irq();
  while (1) {
  }
  /* USER CODE END Error_Handler_Debug */
}
#ifdef USE_FULL_ASSERT
/**
  * @brief  Reports the name of the source file and the source line number
  *         where the assert_param error has occurred.
  * @param  file: pointer to the source file name
  * @param  line: assert_param error line source number
  * @retval None
  */
void assert_failed(uint8_t *file, uint32_t line)
{
  /* USER CODE BEGIN 6 */
  /* User can add his own implementation to report the file name and line
     number, ex: printf("Wrong parameters value: file %s on line %d\r\n",
     file, line) */
  /* USER CODE END 6 */
}
#endif /* USE_FULL_ASSERT */
